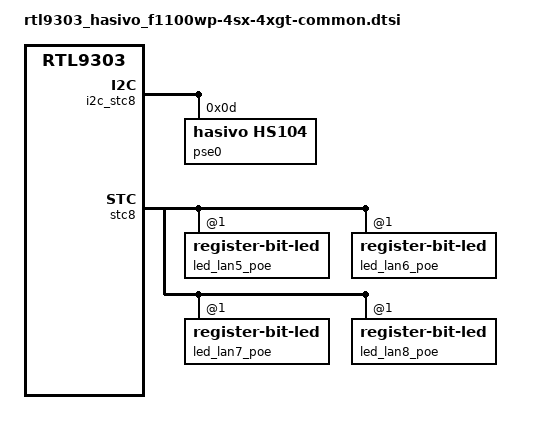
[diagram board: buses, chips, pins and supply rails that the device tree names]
// SPDX-License-Identifier: GPL-2.0-or-later
/dts-v1/;

#include "rtl9303_hasivo_f1100w-4sx-4xgt-common.dtsi"

&i2c_stc8 {
	pse0: ethernet-pse@d {
		compatible = "hasivo,hs104";
		reg = <0x0d>;
		poll-interval-ms = <500>;
		status = "okay";

		pse-pis {
			#address-cells = <1>;
			#size-cells = <0>;

			pse0_pi0: pse-pi@0 {
				reg = <0>;
				#pse-cells = <0>;
			};
			pse0_pi1: pse-pi@1 {
				reg = <1>;
				#pse-cells = <0>;
			};
			pse0_pi2: pse-pi@2 {
				reg = <2>;
				#pse-cells = <0>;
			};
			pse0_pi3: pse-pi@3 {
				reg = <3>;
				#pse-cells = <0>;
			};
		};
	};
};

&stc8 {
	led_lan5_poe: led@1,0 {
		compatible = "register-bit-led";
		reg = <0x01 0x00>;
		mask = <0x08>;
		color = <LED_COLOR_ID_ORANGE>;
		function = "poe";
		function-enumerator = <5>;
		linux,default-trigger = "pse-0-000d:port0:delivering";
		default-state = "off";
	};

	led_lan6_poe: led@1,1 {
		compatible = "register-bit-led";
		reg = <0x01 0x01>;
		mask = <0x04>;
		color = <LED_COLOR_ID_ORANGE>;
		function = "poe";
		function-enumerator = <6>;
		linux,default-trigger = "pse-0-000d:port1:delivering";
		default-state = "off";
	};

	led_lan7_poe: led@1,2 {
		compatible = "register-bit-led";
		reg = <0x01 0x02>;
		mask = <0x02>;
		color = <LED_COLOR_ID_ORANGE>;
		function = "poe";
		function-enumerator = <7>;
		linux,default-trigger = "pse-0-000d:port2:delivering";
		default-state = "off";
	};

	led_lan8_poe: led@1,3 {
		compatible = "register-bit-led";
		reg = <0x01 0x03>;
		mask = <0x01>;
		color = <LED_COLOR_ID_ORANGE>;
		function = "poe";
		function-enumerator = <8>;
		linux,default-trigger = "pse-0-000d:port3:delivering";
		default-state = "off";
	};
};

&phy24 { pses = <&pse0_pi0>; };
&phy25 { pses = <&pse0_pi1>; };
&phy26 { pses = <&pse0_pi2>; };
&phy27 { pses = <&pse0_pi3>; };
